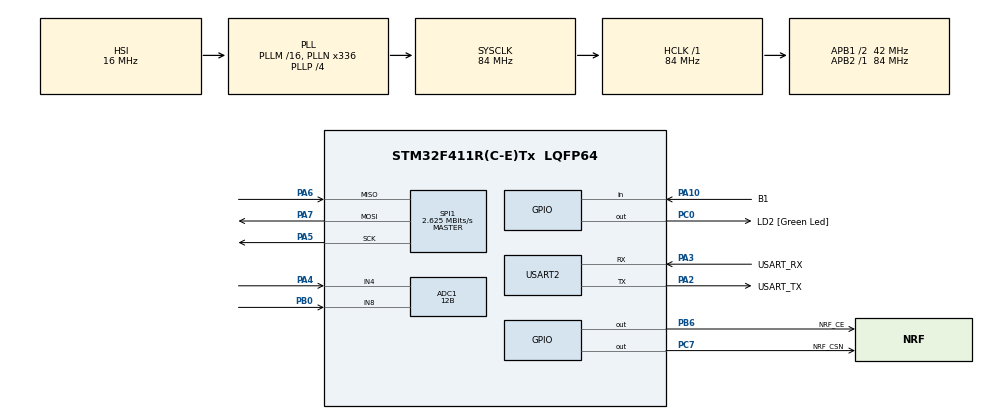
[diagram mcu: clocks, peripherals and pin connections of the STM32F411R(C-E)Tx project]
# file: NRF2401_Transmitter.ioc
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ADC1.Channel-0\#ChannelRegularConversion=ADC_CHANNEL_4
ADC1.NbrOfConversion=1
ADC1.NbrOfConversionFlag=1
ADC1.Rank-0\#ChannelRegularConversion=1
ADC1.Resolution=ADC_RESOLUTION_12B
ADC1.SamplingTime-0\#ChannelRegularConversion=ADC_SAMPLETIME_480CYCLES
ADC1.master=1
Mcu.Family=STM32F4
Mcu.Name=STM32F411R(C-E)Tx
Mcu.Package=LQFP64
NVIC.PriorityGroup=NVIC_PRIORITYGROUP_0
NVIC.TIM1_UP_TIM10_IRQn=true\:0\:0\:false\:true\:true\:1\:true\:true\:true
PA10.GPIO_Label=B1
PA10.GPIO_PuPd=GPIO_PULLUP
PA10.Signal=GPIO_Input
PA13.GPIO_Label=TMS
PA13.Mode=Serial_Wire
PA13.Signal=SYS_JTMS-SWDIO
PA14.GPIO_Label=TCK
PA14.Mode=Serial_Wire
PA14.Signal=SYS_JTCK-SWCLK
PA2.GPIO_Label=USART_TX
PA2.Mode=Asynchronous
PA2.Signal=USART2_TX
PA3.GPIO_Label=USART_RX
PA3.Mode=Asynchronous
PA3.Signal=USART2_RX
PA4.Signal=ADCx_IN4
PA5.Mode=Full_Duplex_Master
PA5.Signal=SPI1_SCK
PA6.Mode=Full_Duplex_Master
PA6.Signal=SPI1_MISO
PA7.Mode=Full_Duplex_Master
PA7.Signal=SPI1_MOSI
PB0.Signal=ADCx_IN8
PB3.GPIO_Label=SWO
PB3.Signal=SYS_JTDO-SWO
PB6.GPIO_Label=NRF_CE
PB6.GPIO_Speed=GPIO_SPEED_FREQ_VERY_HIGH
PB6.Signal=GPIO_Output
PC0.GPIO_Label=LD2 [Green Led]
PC0.GPIO_Speed=GPIO_SPEED_FREQ_VERY_HIGH
PC0.Signal=GPIO_Output
PC14-OSC32_IN.Mode=LSE-External-Oscillator
PC14-OSC32_IN.Signal=RCC_OSC32_IN
PC15-OSC32_OUT.Mode=LSE-External-Oscillator
PC15-OSC32_OUT.Signal=RCC_OSC32_OUT
PC7.GPIO_Label=NRF_CSN
PC7.GPIO_Speed=GPIO_SPEED_FREQ_VERY_HIGH
PC7.Signal=GPIO_Output
PH0\ -\ OSC_IN.Mode=HSE-External-Clock-Source
PH0\ -\ OSC_IN.Signal=RCC_OSC_IN
PH1\ -\ OSC_OUT.Mode=HSE-External-Clock-Source
PH1\ -\ OSC_OUT.Signal=RCC_OSC_OUT
ProjectManager.HeapSize=0x200
ProjectManager.StackSize=0x400
ProjectManager.TargetToolchain=STM32CubeIDE
RCC.48MHZClocksFreq_Value=84000000
RCC.AHBFreq_Value=84000000
RCC.APB1CLKDivider=RCC_HCLK_DIV2
RCC.APB1Freq_Value=42000000
RCC.APB1TimFreq_Value=84000000
RCC.APB2Freq_Value=84000000
RCC.APB2TimFreq_Value=84000000
RCC.CortexFreq_Value=84000000
RCC.FLatency-AdvancedSettings=FLASH_LATENCY_2
RCC.HCLKFreq_Value=84000000
RCC.HSE_VALUE=8000000
RCC.HSI_VALUE=16000000
RCC.PLLN=336
RCC.PLLP=RCC_PLLP_DIV4
RCC.SYSCLKFreq_VALUE=84000000
RCC.SYSCLKSource=RCC_SYSCLKSOURCE_PLLCLK
RCC.VCOOutputFreq_Value=336000000
SH.ADCx_IN4.0=ADC1_IN4,IN4
SH.ADCx_IN8.0=ADC1_IN8,IN8
SPI1.BaudRatePrescaler=SPI_BAUDRATEPRESCALER_32
SPI1.CalculateBaudRate=2.625 MBits/s
SPI1.Direction=SPI_DIRECTION_2LINES
SPI1.Mode=SPI_MODE_MASTER
SPI1.VirtualType=VM_MASTER
TIM1.Period=9
TIM1.Prescaler=839
USART2.VirtualMode=VM_ASYNC
VP_TIM1_VS_ClockSourceINT.Mode=Internal
board=NUCLEO-F411RE

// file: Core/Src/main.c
/* USER CODE BEGIN Header */
/**
  ******************************************************************************
  * @file           : main.c
  * @brief          : Main program body
  ******************************************************************************
  * @attention
  *
  * Copyright (c) 2022 STMicroelectronics.
  * All rights reserved.
  *
  * This software is licensed under terms that can be found in the LICENSE file
  * in the root directory of this software component.
  * If no LICENSE file comes with this software, it is provided AS-IS.
  *
  ******************************************************************************
  */
/* USER CODE END Header */
#include "main.h"
#include "adc.h"
#include "spi.h"
#include "tim.h"
#include "usart.h"
#include "gpio.h"

/* USER CODE BEGIN Includes */
#include "stdio.h"

#include "NRF2401/nrf2401.h"
#include "clock.h"
#include "joystick.h"
#include "button.h"
/* USER CODE END Includes */

/* USER CODE BEGIN PD */

#define MESSAGE_LENGTH 3

/* USER CODE END PD */

/* USER CODE BEGIN PV */
T_Joystick Direction;
T_Joystick Veer;

T_Button LightBtn;

uint16_t AdcValueX;
uint16_t AdcValueY;
/* USER CODE END PV */

void SystemClock_Config(void);
static void MX_NVIC_Init(void);
/* USER CODE BEGIN PFP */
int __io_putchar(int ch)
{
    if (ch == '\n') {
        uint8_t ch2 = '\r';
        HAL_UART_Transmit(&huart2, &ch2, 1, 1000);
    }

    HAL_UART_Transmit(&huart2, (uint8_t*)&ch, 1, 1000);
    return 1;
}
/* USER CODE END PFP */

int main(void)
{

  /* MCU Configuration--------------------------------------------------------*/

  /* Reset of all peripherals, Initializes the Flash interface and the Systick. */
  HAL_Init();

  /* Configure the system clock */
  SystemClock_Config();

  /* Initialize all configured peripherals */
  MX_GPIO_Init();
  MX_USART2_UART_Init();
  MX_SPI1_Init();
  MX_TIM1_Init();
  MX_ADC1_Init();

  /* Initialize interrupts */
  MX_NVIC_Init();
  /* USER CODE BEGIN 2 */
  Clock_Init(&htim1);
  NRF_Init(&hspi1, 't');
  Joystick_Init(&Direction, &hadc1, ADC_CHANNEL_4);
  Joystick_Init(&Veer, &hadc1, ADC_CHANNEL_8);
  Button_Init(&LightBtn, B1_GPIO_Port, B1_Pin);

  uint8_t i = 0;
  uint8_t tx_data[MESSAGE_LENGTH];
  uint32_t last_tick = HAL_GetTick();
  /* USER CODE END 2 */

  /* Infinite loop */
  /* USER CODE BEGIN WHILE */
  while (1)
  {
	  NRF_process();
	  Button_Process(&LightBtn);
	  if(HAL_GetTick() - last_tick >= 25)
	  {
		  tx_data[0] = Joystick_GetValue(&Direction);
		  tx_data[1] = Joystick_GetValue(&Veer);
		  tx_data[2] = Button_GetSwitchStatus(&LightBtn);
		  NRF_SendMessage(tx_data, MESSAGE_LENGTH);
		  //printf("direction = %d \t veer = %d  \t button = %d \r\n", tx_data[0], tx_data[1], tx_data[2]);
		  i++;
		  i%=5;
		  last_tick = HAL_GetTick();
	  }

    /* USER CODE END WHILE */

  }
}

void SystemClock_Config(void)
{
  RCC_OscInitTypeDef RCC_OscInitStruct = {0};
  RCC_ClkInitTypeDef RCC_ClkInitStruct = {0};

  /** Configure the main internal regulator output voltage
  */
  __HAL_RCC_PWR_CLK_ENABLE();
  __HAL_PWR_VOLTAGESCALING_CONFIG(PWR_REGULATOR_VOLTAGE_SCALE1);

  /** Initializes the RCC Oscillators according to the specified parameters
  * in the RCC_OscInitTypeDef structure.
  */
  RCC_OscInitStruct.OscillatorType = RCC_OSCILLATORTYPE_HSI;
  RCC_OscInitStruct.HSIState = RCC_HSI_ON;
  RCC_OscInitStruct.HSICalibrationValue = RCC_HSICALIBRATION_DEFAULT;
  RCC_OscInitStruct.PLL.PLLState = RCC_PLL_ON;
  RCC_OscInitStruct.PLL.PLLSource = RCC_PLLSOURCE_HSI;
  RCC_OscInitStruct.PLL.PLLM = 16;
  RCC_OscInitStruct.PLL.PLLN = 336;
  RCC_OscInitStruct.PLL.PLLP = RCC_PLLP_DIV4;
  RCC_OscInitStruct.PLL.PLLQ = 4;
  if (HAL_RCC_OscConfig(&RCC_OscInitStruct) != HAL_OK)
  {
    Error_Handler();
  }

  /** Initializes the CPU, AHB and APB buses clocks
  */
  RCC_ClkInitStruct.ClockType = RCC_CLOCKTYPE_HCLK|RCC_CLOCKTYPE_SYSCLK
                              |RCC_CLOCKTYPE_PCLK1|RCC_CLOCKTYPE_PCLK2;
  RCC_ClkInitStruct.SYSCLKSource = RCC_SYSCLKSOURCE_PLLCLK;
  RCC_ClkInitStruct.AHBCLKDivider = RCC_SYSCLK_DIV1;
  RCC_ClkInitStruct.APB1CLKDivider = RCC_HCLK_DIV2;
  RCC_ClkInitStruct.APB2CLKDivider = RCC_HCLK_DIV1;

  if (HAL_RCC_ClockConfig(&RCC_ClkInitStruct, FLASH_LATENCY_2) != HAL_OK)
  {
    Error_Handler();
  }
}

/**
  * @brief NVIC Configuration.
  * @retval None
  */
static void MX_NVIC_Init(void)
{
  /* TIM1_UP_TIM10_IRQn interrupt configuration */
  HAL_NVIC_SetPriority(TIM1_UP_TIM10_IRQn, 0, 0);
  HAL_NVIC_EnableIRQ(TIM1_UP_TIM10_IRQn);
}

void Error_Handler(void)
{
  __disable_irq();
  while (1)
  {
  }
}
